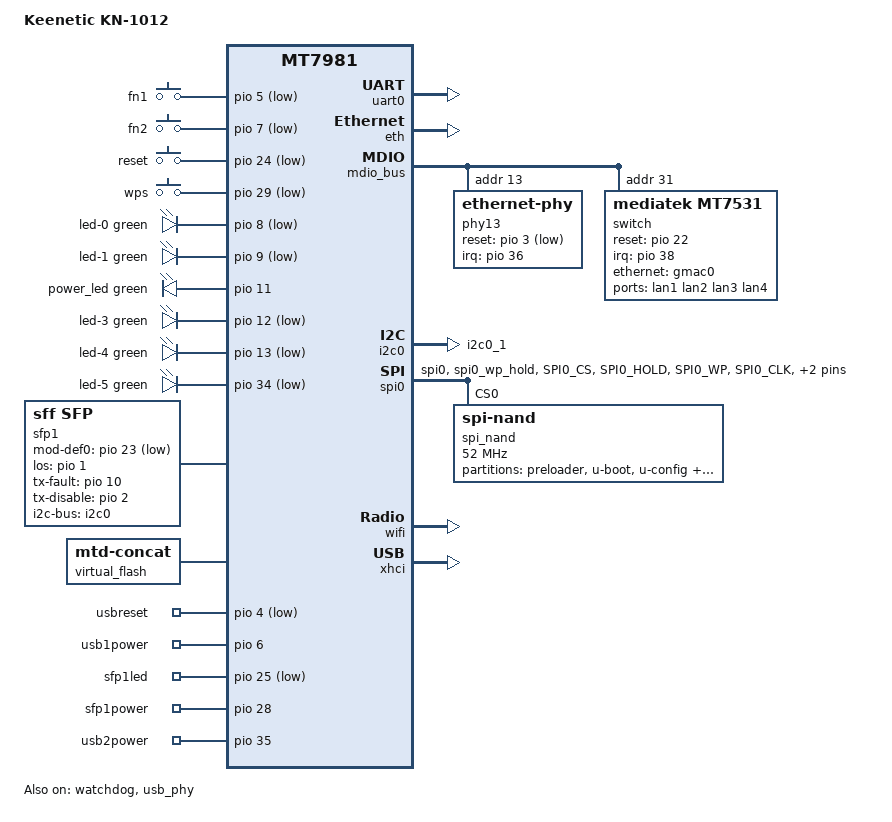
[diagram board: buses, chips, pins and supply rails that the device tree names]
// SPDX-License-Identifier: GPL-2.0-only OR MIT

/dts-v1/;

#include "mt7981b.dtsi"

/ {
	model = "Keenetic KN-1012";
	compatible = "keenetic,kn-1012", "mediatek,mt7981";

	aliases {
		label-mac-device = &gmac1;
		led-boot = &power_led;
		led-failsafe = &power_led;
		led-running = &power_led;
		led-upgrade = &power_led;
		serial0 = &uart0;
	};

	chosen {
		stdout-path = "serial0:115200n8";
	};

	gpio-keys {
		compatible = "gpio-keys";

		button-fn1 {
			label = "fn1";
			linux,code = <BTN_0>;
			gpios = <&pio 5 GPIO_ACTIVE_LOW>;
		};

		button-fn2 {
			label = "fn2";
			linux,code = <BTN_1>;
			gpios = <&pio 7 GPIO_ACTIVE_LOW>;
		};

		button-reset {
			label = "reset";
			linux,code = <KEY_RESTART>;
			gpios = <&pio 24 GPIO_ACTIVE_LOW>;
		};

		button-wps {
			label = "wps";
			linux,code = <KEY_WPS_BUTTON>;
			gpios = <&pio 29 GPIO_ACTIVE_LOW>;
		};
	};

	gpio-leds {
		compatible = "gpio-leds";

		led-0 {
			color = <LED_COLOR_ID_GREEN>;
			function = LED_FUNCTION_WAN;
			gpios = <&pio 8 GPIO_ACTIVE_LOW>;
		};

		/* fn1 */
		led-1 {
			color = <LED_COLOR_ID_GREEN>;
			function = LED_FUNCTION_INDICATOR;
			gpios = <&pio 9 GPIO_ACTIVE_LOW>;
		};

		power_led: led-2 {
			color = <LED_COLOR_ID_GREEN>;
			function = LED_FUNCTION_POWER;
			gpios = <&pio 11 GPIO_ACTIVE_HIGH>;
		};

		led-3 {
			color = <LED_COLOR_ID_GREEN>;
			function = LED_FUNCTION_WAN_ONLINE;
			gpios = <&pio 12 GPIO_ACTIVE_LOW>;
		};

		/* fn2 led reassigned to wlan 2.4 */
		led-4 {
			color = <LED_COLOR_ID_GREEN>;
			function = LED_FUNCTION_WLAN_2GHZ;
			gpios = <&pio 13 GPIO_ACTIVE_LOW>;
			linux,default-trigger = "phy0tpt";
		};

		led-5 {
			color = <LED_COLOR_ID_GREEN>;
			function = LED_FUNCTION_WLAN_5GHZ;
			gpios = <&pio 34 GPIO_ACTIVE_LOW>;
			linux,default-trigger = "phy1tpt";
		};
	};

	sfp1: sfp-1 {
		compatible = "sff,sfp";
		i2c-bus = <&i2c0>;
		mod-def0-gpios = <&pio 23 GPIO_ACTIVE_LOW>;	/* gpio in */
		los-gpios = <&pio 1 GPIO_ACTIVE_HIGH>;		/* gpio in */
		tx-fault-gpios = <&pio 10 GPIO_ACTIVE_HIGH>;	/* gpio in */
		tx-disable-gpios = <&pio 2 GPIO_ACTIVE_HIGH>;	/* gpio out */
		maximum-power-milliwatt = <3000>;
	};

	virtual_flash {
		compatible = "mtd-concat";
		devices = <&firmware1 &storage1 &firmware2 &storage2>;

		partitions {
			compatible = "fixed-partitions";
			#address-cells = <1>;
			#size-cells = <1>;

			partition@0 {
				label = "kernel";
				reg = <0x0 0x600000>;
			};

			partition@400000 {
				label = "ubi";
				reg = <0x600000 0x0>;
			};
		};
	};

	gpio-export {
		compatible = "gpio-export";
		#size-cells = <0>;

		/* usb 2.0 hub GL850G-OHY60 */
		usbreset {
			gpio-export,name = "usbreset";
			gpio-export,output = <1>;
			gpios = <&pio 4 GPIO_ACTIVE_LOW>;
		};

		usb1power {
			gpio-export,name = "usb1power";
			gpio-export,output = <1>;
			gpios = <&pio 6 GPIO_ACTIVE_HIGH>;
		};

		sfp1led {
			gpio-export,name = "sfp1led";
			gpio-export,output = <1>;
			gpios = <&pio 25 GPIO_ACTIVE_LOW>;
		};

		sfp1power {
			gpio-export,name = "sfp1power";
			gpio-export,output = <1>;
			gpios = <&pio 28 GPIO_ACTIVE_HIGH>;
		};

		usb2power {
			gpio-export,name = "usb2power";
			gpio-export,output = <1>;
			gpios = <&pio 35 GPIO_ACTIVE_HIGH>;
		};

		/* switch reset in uboot dts, needs testing */
		/*
		gpio39 {
			gpio-export,name = "gpio39";
			gpio-export,output = <0>;
			gpios = <&pio 39 GPIO_ACTIVE_LOW>;
		};
		*/
	};
};

&uart0 {
	status = "okay";
};

&watchdog {
	status = "okay";
};

&eth {
	status = "okay";
	pinctrl-names = "default";
	pinctrl-0 = <&mdio_pins>;

	gmac0: mac@0 {
		compatible = "mediatek,eth-mac";
		reg = <0>;
		phy-mode = "2500base-x";

		nvmem-cell-names = "mac-address";
		nvmem-cells = <&macaddr_factory_4>;

		fixed-link {
			speed = <2500>;
			full-duplex;
			pause;
		};
	};

	gmac1: mac@1 {
		compatible = "mediatek,eth-mac";
		reg = <1>;
		phy-mode = "gmii";
		phy-handle = <&int_gbe_phy>;
		label = "wan";

		nvmem-cell-names = "mac-address";
		nvmem-cells = <&macaddr_factory_a>;
	};
};

&mdio_bus {
	/* Airoha EN8811H */
	phy13: ethernet-phy@d {
		reg = <0xd>;
		reset-gpios = <&pio 3 GPIO_ACTIVE_LOW>;
		reset-assert-us = <10000>;
		reset-deassert-us = <20000>;
		interrupt-parent = <&pio>;
		interrupts = <36 IRQ_TYPE_EDGE_FALLING>;
	};

	/* Mediatek MT7531 */
	switch: switch@1f {
		compatible = "mediatek,mt7531";
		reg = <0x1f>;
		reset-gpios = <&pio 22 GPIO_ACTIVE_HIGH>;
		interrupt-controller;
		#interrupt-cells = <1>;
		interrupt-parent = <&pio>;
		interrupts = <38 IRQ_TYPE_LEVEL_HIGH>;
	};
};

&switch {
	ds-mux-bus {
		#address-cells = <1>;
		#size-cells = <0>;

		ds-mux@5 {
			compatible = "mediatek,ds-mux";
			reg = <5>;
			chan-sel-gpios = <&pio 27 GPIO_ACTIVE_LOW>;
			mod-def0-gpios = <&pio 23 GPIO_ACTIVE_LOW>;
			sfp-present-channel = <0>;
			#address-cells = <1>;
			#size-cells = <0>;

			channel@0 {
				reg = <0>;
				phy-mode = "2500base-x";
				phy-connection-type = "2500base-x";
				managed = "in-band-status";
				sfp = <&sfp1>;
			};

			channel@1 {
				reg = <1>;
				phy-mode = "2500base-x";
				phy-connection-type = "2500base-x";
				phy-handle = <&phy13>;
			};
		};
	};

	ports {
		#address-cells = <1>;
		#size-cells = <0>;

		port@0 {
			reg = <0>;
			label = "lan1";
		};

		port@1 {
			reg = <1>;
			label = "lan2";
		};

		port@2 {
			reg = <2>;
			label = "lan3";
		};

		port@5 {
			reg = <5>;
			label = "lan4";
			phy-mode = "2500base-x";
			phy-handle = <&phy13>;

			fixed-link {
				speed = <2500>;
				full-duplex;
			};
		};

		port@6 {
			reg = <6>;
			ethernet = <&gmac0>;
			phy-mode = "2500base-x";

			fixed-link {
				speed = <2500>;
				full-duplex;
				pause;
			};
		};
	};
};

&pio {
	spi0_flash_pins: spi0-pins {
		mux {
			function = "spi";
			groups = "spi0", "spi0_wp_hold";
		};

		conf-pu {
			pins = "SPI0_CS", "SPI0_HOLD", "SPI0_WP";
			drive-strength = <MTK_DRIVE_8mA>;
			/* bias-pull-up = <MTK_PUPD_SET_R1R0_11>; */
			mediatek,pull-up-adv = <3>;
		};

		conf-pd {
			pins = "SPI0_CLK", "SPI0_MOSI", "SPI0_MISO";
			drive-strength = <MTK_DRIVE_8mA>;
			/* bias-pull-down = <MTK_PUPD_SET_R1R0_11>; */
			mediatek,pull-down-adv = <3>;
		};
	};

	i2c_pins: i2c-pins {
		mux {
			function = "i2c";
			groups = "i2c0_1";
		};
	};
};

&i2c0 {
	pinctrl-names = "default";
	pinctrl-0 = <&i2c_pins>;
	status = "okay";
};

&spi0 {
	pinctrl-names = "default";
	pinctrl-0 = <&spi0_flash_pins>;
	status = "okay";

	/* Winbond W25N02KV (256M) */
	spi_nand@0 {
		compatible = "spi-nand";
		reg = <0>;

		spi-max-frequency = <52000000>;
		spi-tx-buswidth = <4>;
		spi-rx-buswidth = <4>;

		mediatek,nmbm;
		mediatek,bmt-max-ratio = <1>;
		mediatek,bmt-max-reserved-blocks = <64>;

		partitions {
			compatible = "fixed-partitions";
			#address-cells = <1>;
			#size-cells = <1>;

			/* bl2 */
			partition@0 {
				label = "preloader";
				reg = <0x0 0x80000>;
				read-only;
			};

			/* fip */
			partition@80000 {
				label = "u-boot";
				reg = <0x80000 0x200000>;
				read-only;
			};

			partition@280000 {
				label = "u-config";
				reg = <0x280000 0x80000>;
				read-only;
			};

			partition@300000 {
				label = "rf-eeprom";
				reg = <0x300000 0x200000>;
				read-only;

				nvmem-layout {
					compatible = "fixed-layout";
					#address-cells = <1>;
					#size-cells = <1>;

					eeprom_factory_0: eeprom@0 {
						reg = <0x0 0x1000>;
					};

					/* lan mac */
					macaddr_factory_4: macaddr@4 {
						reg = <0x4 0x6>;
					};

					/* wan mac */
					macaddr_factory_a: macaddr@a {
						reg = <0xa 0x6>;
					};
				};
			};

			firmware1: partition@500000 {
				label = "firmware_1";
				reg = <0x500000 0x3a00000>;
			};

			partition@3f00000 {
				label = "config_1";
				reg = <0x3f00000 0x80000>;
				read-only;
			};

			partition@3f80000 {
				label = "dump";
				reg = <0x3f80000 0x80000>;
				read-only;
			};

			storage1: partition@4000000 {
				label = "storage_a";
				reg = <0x4000000 0x3800000>;
			};

			partition@7800000 {
				label = "u-state";
				reg = <0x7800000 0x20000>;
				read-only;
			};

			partition@7a80000 {
				label = "u-config_res";
				reg = <0x7a80000 0x80000>;
				read-only;
			};

			partition@7b00000 {
				label = "rf-eeprom_res";
				reg = <0x7b00000 0x200000>;
				read-only;
			};

			firmware2: partition@7d00000 {
				label = "firmware_2";
				reg = <0x7d00000 0x3a00000>;
			};

			partition@b700000 {
				label = "config_2";
				reg = <0xb700000 0x80000>;
				read-only;
			};

			storage2: partition@b780000 {
				label = "storage_b";
				reg = <0xb780000 0x3880000>;
			};
		};
	};
};

&wifi {
	nvmem-cell-names = "eeprom";
	nvmem-cells = <&eeprom_factory_0>;
	status = "okay";
};

&usb_phy {
	status = "okay";
};

&xhci {
	status = "okay";
};
